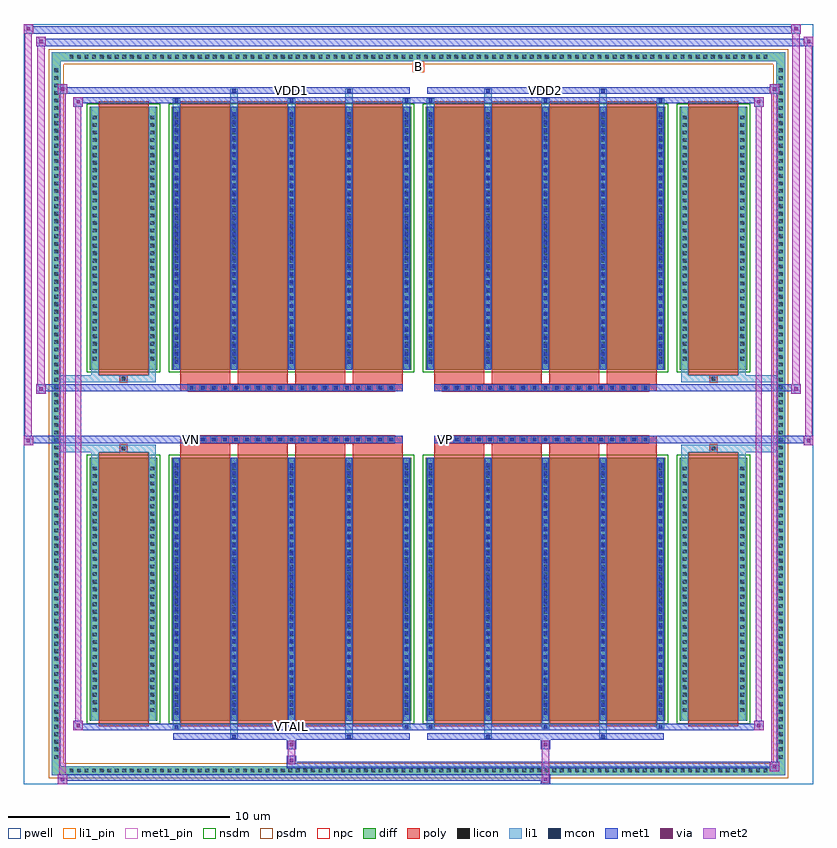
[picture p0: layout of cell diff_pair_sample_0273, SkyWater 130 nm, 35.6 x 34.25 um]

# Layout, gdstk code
import gdstk
lib = gdstk.Library(unit=1e-6, precision=5e-09)
def R(c, l, rs):  # rectangles x0, y0, x1, y1
    for r in rs: c.add(gdstk.rectangle(r[:2], r[2:], *l))
def A(c, l, x, y, w, h, nx, ny, dx, dy):  # array of equal rectangles
    R(c, l, [(x+i*dx, y+j*dy, x+i*dx+w, y+j*dy+h) for i in range(nx) for j in range(ny)])
def P(c, l, *ps):  # polygons
    for p in ps: c.add(gdstk.Polygon(p, *l))
pwell = (64, 44)
diff = (65, 20)
poly = (66, 20)
licon = (66, 44)
li1_pin = (67, 16)
li1 = (67, 20)
mcon = (67, 44)
met1_pin = (68, 16)
met1 = (68, 20)
via = (68, 44)
met2 = (69, 20)
nsdm = (93, 44)
psdm = (94, 20)
npc = (95, 20)

diff_pair_sample_0273 = lib.new_cell('diff_pair_sample_0273')
R(diff_pair_sample_0273, pwell, [(-17.8,-16.69,17.8,17.56), (-15.12,-14.88,-0.01,-0.8), (0.01,-14.88,15.12,-0.8), (-15.12,0.8,-0.01,14.88), (0.01,0.8,15.12,14.88)])
A(diff_pair_sample_0273, diff, -15.845, -16.29, 0.41, 0.41, 93, 2, 0.34, 32.17)
A(diff_pair_sample_0273, diff, -16.53, -15.675, 0.41, 0.41, 1, 92, 0, 0.34)
A(diff_pair_sample_0273, diff, 16.12, -15.675, 0.41, 0.41, 1, 92, 0, 0.34)
R(diff_pair_sample_0273, diff, [(-15.845,-16.29,15.845,-15.88), (-16.53,-15.675,-16.12,15.675), (16.12,-15.675,16.53,15.675), (-14.81,-13.835,-11.77,-1.985), (-11.13,-13.835,-0.32,-1.985), (0.32,-13.835,11.13,-1.985), (11.77,-13.835,14.81,-1.985), (-14.81,1.985,-11.77,13.835), (-11.13,1.985,-0.32,13.835), (0.32,1.985,11.13,13.835), (11.77,1.985,14.81,13.835), (-15.845,15.88,15.845,16.29)])
P(diff_pair_sample_0273, diff, [(16.53,16.29),(-16.53,16.29),(-16.53,-15.88),(-16.12,-15.88),(-16.12,15.88),(16.12,15.88),(16.12,-15.88),(-16.12,-15.88),(-16.53,-15.88),(-16.53,-16.29),(16.53,-16.29)])
A(diff_pair_sample_0273, poly, -10.74, -14.085, 2.26, 12.35, 4, 2, 2.59, 15.82)
A(diff_pair_sample_0273, poly, 0.71, -14.085, 2.26, 12.35, 4, 2, 2.59, 15.82)
A(diff_pair_sample_0273, poly, -10.74, -1.735, 2.26, 0.405, 4, 2, 2.59, 3.065)
A(diff_pair_sample_0273, poly, 0.71, -1.735, 2.26, 0.405, 4, 2, 2.59, 3.065)
A(diff_pair_sample_0273, poly, -10.39, -1.33, 0.33, 0.33, 19, 2, 0.5, 2.33)
A(diff_pair_sample_0273, poly, 1.06, -1.33, 0.33, 0.33, 19, 2, 0.5, 2.33)
R(diff_pair_sample_0273, poly, [(-14.42,-14.085,-12.16,-1.735), (12.16,-14.085,14.42,-1.735), (-13.455,-1.735,-13.125,-1.405), (-13.455,-1.735,-13.125,-1.405), (13.125,-1.735,13.455,-1.405), (13.125,-1.735,13.455,-1.405), (-10.74,-1.33,-0.71,-1), (0.71,-1.33,10.74,-1), (-10.74,1,-0.71,1.33), (0.71,1,10.74,1.33), (-13.455,1.405,-13.125,1.735), (-13.455,1.405,-13.125,1.735), (13.125,1.405,13.455,1.735), (13.125,1.405,13.455,1.735), (-14.42,1.735,-12.16,14.085), (12.16,1.735,14.42,14.085)])
A(diff_pair_sample_0273, licon, -15.725, -16.17, 0.17, 0.17, 93, 2, 0.34, 32.17)
A(diff_pair_sample_0273, licon, -16.41, -15.555, 0.17, 0.17, 1, 92, 0, 0.34)
A(diff_pair_sample_0273, licon, 16.24, -15.555, 0.17, 0.17, 1, 92, 0, 0.34)
A(diff_pair_sample_0273, licon, -14.67, -13.435, 0.17, 0.17, 1, 33, 0, 0.34)
A(diff_pair_sample_0273, licon, -12.08, -13.435, 0.17, 0.17, 1, 33, 0, 0.34)
A(diff_pair_sample_0273, licon, -10.99, -13.435, 0.17, 0.17, 5, 33, 2.59, 0.34)
A(diff_pair_sample_0273, licon, 0.46, -13.435, 0.17, 0.17, 5, 33, 2.59, 0.34)
A(diff_pair_sample_0273, licon, 11.91, -13.435, 0.17, 0.17, 1, 33, 0, 0.34)
A(diff_pair_sample_0273, licon, 14.5, -13.435, 0.17, 0.17, 1, 33, 0, 0.34)
A(diff_pair_sample_0273, licon, -10.31, -1.25, 0.17, 0.17, 19, 2, 0.5, 2.33)
A(diff_pair_sample_0273, licon, 1.14, -1.25, 0.17, 0.17, 19, 2, 0.5, 2.33)
A(diff_pair_sample_0273, licon, -14.67, 2.385, 0.17, 0.17, 1, 33, 0, 0.34)
A(diff_pair_sample_0273, licon, -12.08, 2.385, 0.17, 0.17, 1, 33, 0, 0.34)
A(diff_pair_sample_0273, licon, -10.99, 2.385, 0.17, 0.17, 5, 33, 2.59, 0.34)
A(diff_pair_sample_0273, licon, 0.46, 2.385, 0.17, 0.17, 5, 33, 2.59, 0.34)
A(diff_pair_sample_0273, licon, 11.91, 2.385, 0.17, 0.17, 1, 33, 0, 0.34)
A(diff_pair_sample_0273, licon, 14.5, 2.385, 0.17, 0.17, 1, 33, 0, 0.34)
R(diff_pair_sample_0273, licon, [(-13.375,-1.655,-13.205,-1.485), (13.205,-1.655,13.375,-1.485), (-13.375,1.485,-13.205,1.655), (13.205,1.485,13.375,1.655)])
R(diff_pair_sample_0273, li1_pin, [(-0.25,15.38,0.25,15.88)])
A(diff_pair_sample_0273, li1, -15.805, -16.25, 0.33, 0.33, 93, 2, 0.34, 32.17)
A(diff_pair_sample_0273, li1, -16.49, -15.635, 0.33, 0.33, 1, 92, 0, 0.34)
A(diff_pair_sample_0273, li1, 16.16, -15.635, 0.33, 0.33, 1, 92, 0, 0.34)
A(diff_pair_sample_0273, li1, -11.07, -14.21, 0.33, 0.375, 3, 2, 5.18, 28.045)
A(diff_pair_sample_0273, li1, -10.99, -14.21, 0.17, 0.17, 3, 2, 5.18, 28.25)
A(diff_pair_sample_0273, li1, 0.38, -14.21, 0.33, 0.375, 3, 2, 5.18, 28.045)
A(diff_pair_sample_0273, li1, 0.46, -14.21, 0.17, 0.17, 3, 2, 5.18, 28.25)
A(diff_pair_sample_0273, li1, -11.07, -13.835, 0.33, 11.85, 5, 2, 2.59, 15.82)
A(diff_pair_sample_0273, li1, 0.38, -13.835, 0.33, 11.85, 5, 2, 2.59, 15.82)
A(diff_pair_sample_0273, li1, -10.99, -13.575, 0.17, 0.17, 5, 32, 2.59, 0.36)
A(diff_pair_sample_0273, li1, -10.99, -13.575, 0.17, 11.33, 5, 2, 2.59, 15.82)
A(diff_pair_sample_0273, li1, 0.46, -13.575, 0.17, 0.17, 5, 32, 2.59, 0.36)
A(diff_pair_sample_0273, li1, 0.46, -13.575, 0.17, 11.33, 5, 2, 2.59, 15.82)
A(diff_pair_sample_0273, li1, -14.75, -13.515, 0.33, 0.33, 1, 33, 0, 0.34)
A(diff_pair_sample_0273, li1, -12.16, -13.515, 0.33, 0.33, 1, 33, 0, 0.34)
A(diff_pair_sample_0273, li1, -11.07, -13.515, 0.33, 0.33, 5, 33, 2.59, 0.34)
A(diff_pair_sample_0273, li1, 0.38, -13.515, 0.33, 0.33, 5, 33, 2.59, 0.34)
A(diff_pair_sample_0273, li1, 11.83, -13.515, 0.33, 0.33, 1, 33, 0, 0.34)
A(diff_pair_sample_0273, li1, 14.42, -13.515, 0.33, 0.33, 1, 33, 0, 0.34)
A(diff_pair_sample_0273, li1, -10.39, -1.33, 0.33, 0.33, 19, 2, 0.5, 2.33)
A(diff_pair_sample_0273, li1, 1.06, -1.33, 0.33, 0.33, 19, 2, 0.5, 2.33)
A(diff_pair_sample_0273, li1, -10.99, 2.245, 0.17, 0.17, 5, 32, 2.59, 0.36)
A(diff_pair_sample_0273, li1, 0.46, 2.245, 0.17, 0.17, 5, 32, 2.59, 0.36)
A(diff_pair_sample_0273, li1, -14.75, 2.305, 0.33, 0.33, 1, 33, 0, 0.34)
A(diff_pair_sample_0273, li1, -12.16, 2.305, 0.33, 0.33, 1, 33, 0, 0.34)
A(diff_pair_sample_0273, li1, -11.07, 2.305, 0.33, 0.33, 5, 33, 2.59, 0.34)
A(diff_pair_sample_0273, li1, 0.38, 2.305, 0.33, 0.33, 5, 33, 2.59, 0.34)
A(diff_pair_sample_0273, li1, 11.83, 2.305, 0.33, 0.33, 1, 33, 0, 0.34)
A(diff_pair_sample_0273, li1, 14.42, 2.305, 0.33, 0.33, 1, 33, 0, 0.34)
R(diff_pair_sample_0273, li1, [(-16.53,-16.29,-16.12,-15.88), (-16.53,-16.29,-16.12,-15.88), (-16.12,-16.29,16.12,-15.88), (16.12,-16.29,16.53,-15.88), (16.12,-16.29,16.53,-15.88), (-16.53,-15.88,-16.12,15.88), (16.12,-15.88,16.53,15.88), (-8.48,-14.64,-8.15,-13.835), (-8.4,-14.64,-8.23,-14.47), (-3.3,-14.64,-2.97,-13.835), (-3.22,-14.64,-3.05,-14.47), (2.97,-14.64,3.3,-13.835), (3.05,-14.64,3.22,-14.47), (8.15,-14.64,8.48,-13.835), (8.23,-14.64,8.4,-14.47), (-14.75,-13.835,-14.42,-1.985), (-12.16,-13.835,-11.83,-1.985), (11.83,-13.835,12.16,-1.985), (14.42,-13.835,14.75,-1.985), (-14.75,-1.985,-14.42,-1.405), (-12.16,-1.985,-11.83,-1.405), (11.83,-1.985,12.16,-1.405), (14.42,-1.985,14.75,-1.405), (-16.53,-1.735,-13.455,-1.405), (-14.75,-1.735,-13.455,-1.405), (-13.455,-1.735,-13.125,-1.405), (-13.125,-1.735,-11.83,-1.405), (11.83,-1.735,13.125,-1.405), (13.125,-1.735,13.455,-1.405), (13.125,-1.735,16.53,-1.405), (13.455,-1.735,14.75,-1.405), (-16.53,1.405,-13.455,1.735), (-14.75,1.405,-13.455,1.735), (-14.75,1.405,-14.42,1.985), (-13.455,1.405,-13.125,1.735), (-13.125,1.405,-11.83,1.735), (-12.16,1.405,-11.83,1.985), (11.83,1.405,13.125,1.735), (11.83,1.405,12.16,1.985), (13.125,1.405,13.455,1.735), (13.125,1.405,16.53,1.735), (13.455,1.405,14.75,1.735), (14.42,1.405,14.75,1.985), (-14.75,1.985,-14.42,13.835), (-12.16,1.985,-11.83,13.835), (11.83,1.985,12.16,13.835), (14.42,1.985,14.75,13.835), (-8.48,13.835,-8.15,14.64), (-3.3,13.835,-2.97,14.64), (2.97,13.835,3.3,14.64), (8.15,13.835,8.48,14.64), (-8.4,14.47,-8.23,14.64), (-3.22,14.47,-3.05,14.64), (3.05,14.47,3.22,14.64), (8.23,14.47,8.4,14.64), (-16.53,15.88,-16.12,16.29), (-16.53,15.88,-16.12,16.29), (-16.12,15.88,16.12,16.29), (16.12,15.88,16.53,16.29), (16.12,15.88,16.53,16.29)])
A(diff_pair_sample_0273, mcon, -10.99, -14.21, 0.17, 0.17, 3, 2, 5.18, 28.25)
A(diff_pair_sample_0273, mcon, 0.46, -14.21, 0.17, 0.17, 3, 2, 5.18, 28.25)
A(diff_pair_sample_0273, mcon, -10.99, -13.575, 0.17, 0.17, 5, 32, 2.59, 0.36)
A(diff_pair_sample_0273, mcon, 0.46, -13.575, 0.17, 0.17, 5, 32, 2.59, 0.36)
A(diff_pair_sample_0273, mcon, -10.31, -1.25, 0.17, 0.17, 19, 2, 0.5, 2.33)
A(diff_pair_sample_0273, mcon, 1.14, -1.25, 0.17, 0.17, 19, 2, 0.5, 2.33)
A(diff_pair_sample_0273, mcon, -10.99, 2.245, 0.17, 0.17, 5, 32, 2.59, 0.36)
A(diff_pair_sample_0273, mcon, 0.46, 2.245, 0.17, 0.17, 5, 32, 2.59, 0.36)
R(diff_pair_sample_0273, mcon, [(-8.4,-14.64,-8.23,-14.47), (-3.22,-14.64,-3.05,-14.47), (3.05,-14.64,3.22,-14.47), (8.23,-14.64,8.4,-14.47), (-8.4,14.47,-8.23,14.64), (-3.22,14.47,-3.05,14.64), (3.05,14.47,3.22,14.64), (8.23,14.47,8.4,14.64)])
R(diff_pair_sample_0273, met1_pin, [(-5.86,-14.25,-5.59,-13.98), (-10.36,-1.29,-10.09,-1.02), (1.09,-1.29,1.36,-1.02), (-5.86,14.43,-5.59,14.7), (5.59,14.43,5.86,14.7)])
A(diff_pair_sample_0273, met1, -11.05, -14.27, 0.29, 0.29, 3, 2, 5.18, 28.25)
A(diff_pair_sample_0273, met1, 0.4, -14.27, 0.29, 0.29, 3, 2, 5.18, 28.25)
A(diff_pair_sample_0273, met1, -11.05, -13.835, 0.29, 11.85, 5, 2, 2.59, 15.82)
A(diff_pair_sample_0273, met1, 0.4, -13.835, 0.29, 11.85, 5, 2, 2.59, 15.82)
A(diff_pair_sample_0273, met1, -11.05, -13.635, 0.29, 0.29, 5, 32, 2.59, 0.36)
A(diff_pair_sample_0273, met1, 0.4, -13.635, 0.29, 0.29, 5, 32, 2.59, 0.36)
A(diff_pair_sample_0273, met1, -10.37, -1.31, 0.29, 0.29, 19, 2, 0.5, 2.33)
A(diff_pair_sample_0273, met1, 1.08, -1.31, 0.29, 0.29, 19, 2, 0.5, 2.33)
A(diff_pair_sample_0273, met1, -11.05, 2.185, 0.29, 0.29, 5, 32, 2.59, 0.36)
A(diff_pair_sample_0273, met1, 0.4, 2.185, 0.29, 0.29, 5, 32, 2.59, 0.36)
R(diff_pair_sample_0273, met1, [(-16.26,-16.69,-15.83,-16.26), (5.51,-16.69,5.94,-16.26), (-16.26,-16.55,5.94,-16.26), (15.83,-16.12,16.26,-15.69), (-5.94,-15.98,16.26,-15.69), (-5.94,-15.84,-5.51,-15.41), (-5.94,-15.13,-5.51,-14.7), (5.51,-15.13,5.94,-14.7), (-11.05,-14.7,-0.4,-14.41), (-8.46,-14.7,-8.17,-14.41), (-3.28,-14.7,-2.99,-14.41), (0.4,-14.7,11.05,-14.41), (2.99,-14.7,3.28,-14.41), (8.17,-14.7,8.46,-14.41), (-15.55,-14.27,-15.12,-13.84), (-15.55,-14.27,-11.05,-13.98), (-11.05,-14.27,-0.4,-13.98), (-0.4,-14.27,0.4,-13.98), (0.4,-14.27,11.05,-13.98), (11.05,-14.27,15.55,-13.98), (15.12,-14.27,15.55,-13.84), (-17.8,-1.43,-17.37,-1), (17.37,-1.43,17.8,-1), (-17.8,-1.33,-0.71,-1), (-10.74,-1.33,-0.71,-1), (0.71,-1.33,10.74,-1), (0.71,-1.33,17.8,-1), (-17.23,0.9,-16.8,1.33), (16.8,0.9,17.23,1.33), (-17.23,1,-10.74,1.33), (-10.74,1,-0.71,1.33), (0.71,1,10.74,1.33), (10.74,1,17.23,1.33), (-15.55,13.84,-15.12,14.27), (15.12,13.84,15.55,14.27), (-15.55,13.98,-11.05,14.27), (-11.05,13.98,-0.4,14.27), (-0.4,13.98,0.4,14.27), (0.4,13.98,11.05,14.27), (11.05,13.98,15.55,14.27), (-16.26,14.41,-15.83,14.84), (-16.26,14.41,-11.05,14.7), (-11.05,14.41,-0.4,14.7), (-8.46,14.41,-8.17,14.7), (-3.28,14.41,-2.99,14.7), (0.4,14.41,11.05,14.7), (2.99,14.41,3.28,14.7), (8.17,14.41,8.46,14.7), (11.05,14.41,16.26,14.7), (15.83,14.41,16.26,14.84), (-17.23,16.56,-16.8,16.99), (-17.23,16.56,-15.12,16.89), (-15.12,16.56,15.12,16.89), (15.12,16.56,17.8,16.89), (17.37,16.56,17.8,16.99), (-17.8,17.13,-17.37,17.56), (-17.8,17.13,-15.12,17.46), (-15.12,17.13,15.12,17.46), (15.12,17.13,17.23,17.46), (16.8,17.13,17.23,17.56)])
R(diff_pair_sample_0273, via, [(-16.12,-16.55,-15.97,-16.4), (5.65,-16.55,5.8,-16.4), (15.97,-15.98,16.12,-15.83), (-5.8,-15.7,-5.65,-15.55), (-5.8,-14.99,-5.65,-14.84), (5.65,-14.99,5.8,-14.84), (-15.41,-14.13,-15.26,-13.98), (15.26,-14.13,15.41,-13.98), (-17.66,-1.29,-17.51,-1.14), (17.51,-1.29,17.66,-1.14), (-17.09,1.04,-16.94,1.19), (16.94,1.04,17.09,1.19), (-15.41,13.98,-15.26,14.13), (15.26,13.98,15.41,14.13), (-16.12,14.55,-15.97,14.7), (15.97,14.55,16.12,14.7), (-17.09,16.7,-16.94,16.85), (17.51,16.7,17.66,16.85), (-17.66,17.27,-17.51,17.42), (16.94,17.27,17.09,17.42)])
R(diff_pair_sample_0273, met2, [(-16.26,-16.69,-15.83,-16.26), (-16.19,-16.69,-15.9,14.84), (-15.9,-16.69,-15.83,-16.26), (-16.21,-16.64,-15.88,-16.31), (5.56,-16.64,5.89,-16.31), (5.56,-16.31,5.89,-15.08), (15.83,-16.12,16.26,-15.69), (15.9,-16.12,16.19,14.84), (16.19,-16.12,16.26,-15.69), (15.88,-16.07,16.21,-15.74), (-5.89,-15.79,-5.56,-15.46), (-5.89,-15.46,-5.56,-15.08), (-5.89,-15.08,-5.56,-14.75), (5.56,-15.08,5.89,-14.75), (-15.55,-14.27,-15.12,-13.84), (-15.48,-14.27,-15.19,14.27), (-15.19,-14.27,-15.12,-13.84), (15.12,-14.27,15.55,-13.84), (15.19,-14.27,15.48,14.27), (15.48,-14.27,15.55,-13.84), (-15.5,-14.22,-15.17,-13.89), (15.17,-14.22,15.5,-13.89), (-17.8,-1.43,-17.37,-1), (-17.75,-1.43,-17.42,17.56), (-17.42,-1.43,-17.37,-1), (17.37,-1.43,17.8,-1), (17.42,-1.43,17.75,16.99), (17.75,-1.43,17.8,-1), (-17.75,-1.38,-17.42,-1.05), (17.42,-1.38,17.75,-1.05), (-17.23,0.9,-16.8,1.33), (-17.18,0.9,-16.85,16.99), (-16.85,0.9,-16.8,1.33), (16.8,0.9,17.23,1.33), (16.85,0.9,17.18,17.56), (17.18,0.9,17.23,1.33), (-17.18,0.95,-16.85,1.28), (16.85,0.95,17.18,1.28), (-15.55,13.84,-15.12,14.27), (-15.19,13.84,-15.12,14.27), (15.12,13.84,15.55,14.27), (15.48,13.84,15.55,14.27), (-15.5,13.89,-15.17,14.22), (15.17,13.89,15.5,14.22), (-16.26,14.41,-15.83,14.84), (-15.9,14.41,-15.83,14.84), (15.83,14.41,16.26,14.84), (16.19,14.41,16.26,14.84), (-16.21,14.46,-15.88,14.79), (15.88,14.46,16.21,14.79), (-17.23,16.56,-16.8,16.99), (-16.85,16.56,-16.8,16.99), (17.37,16.56,17.8,16.99), (17.75,16.56,17.8,16.99), (-17.18,16.61,-16.85,16.94), (17.42,16.61,17.75,16.94), (-17.8,17.13,-17.37,17.56), (-17.42,17.13,-17.37,17.56), (16.8,17.13,17.23,17.56), (17.18,17.13,17.23,17.56), (-17.75,17.18,-17.42,17.51), (16.85,17.18,17.18,17.51)])
R(diff_pair_sample_0273, nsdm, [(-14.94,-13.965,-11.64,-1.855), (-11.26,-13.965,-0.19,-1.855), (0.19,-13.965,11.26,-1.855), (11.64,-13.965,14.94,-1.855), (-14.94,1.855,-11.64,13.965), (-11.26,1.855,-0.19,13.965), (0.19,1.855,11.26,13.965), (11.64,1.855,14.94,13.965)])
P(diff_pair_sample_0273, psdm, [(16.66,16.42),(-16.66,16.42),(-16.66,-15.75),(-15.99,-15.75),(-15.99,15.75),(15.99,15.75),(15.99,-15.75),(-15.99,-15.75),(-16.66,-15.75),(-16.66,-16.42),(16.66,-16.42)])
A(diff_pair_sample_0273, npc, -10.41, -1.35, 0.37, 0.37, 19, 2, 0.5, 2.33)
A(diff_pair_sample_0273, npc, 1.04, -1.35, 0.37, 0.37, 19, 2, 0.5, 2.33)
R(diff_pair_sample_0273, npc, [(-13.475,-1.755,-13.105,-1.385), (13.105,-1.755,13.475,-1.385), (-10.41,-1.35,-9.54,-0.98), (-10.41,-1.35,-9.54,-0.98), (-9.91,-1.35,-9.04,-0.98), (-9.91,-1.35,-9.04,-0.98), (-9.41,-1.35,-8.54,-0.98), (-9.41,-1.35,-8.54,-0.98), (-8.91,-1.35,-8.04,-0.98), (-8.91,-1.35,-8.04,-0.98), (-8.41,-1.35,-7.54,-0.98), (-8.41,-1.35,-7.54,-0.98), (-7.91,-1.35,-7.04,-0.98), (-7.91,-1.35,-7.04,-0.98), (-7.41,-1.35,-6.54,-0.98), (-7.41,-1.35,-6.54,-0.98), (-6.91,-1.35,-6.04,-0.98), (-6.91,-1.35,-6.04,-0.98), (-6.41,-1.35,-5.54,-0.98), (-6.41,-1.35,-5.54,-0.98), (-5.91,-1.35,-5.04,-0.98), (-5.91,-1.35,-5.04,-0.98), (-5.41,-1.35,-4.54,-0.98), (-5.41,-1.35,-4.54,-0.98), (-4.91,-1.35,-4.04,-0.98), (-4.91,-1.35,-4.04,-0.98), (-4.41,-1.35,-3.54,-0.98), (-4.41,-1.35,-3.54,-0.98), (-3.91,-1.35,-3.04,-0.98), (-3.91,-1.35,-3.04,-0.98), (-3.41,-1.35,-2.54,-0.98), (-3.41,-1.35,-2.54,-0.98), (-2.91,-1.35,-2.04,-0.98), (-2.91,-1.35,-2.04,-0.98), (-2.41,-1.35,-1.54,-0.98), (-2.41,-1.35,-1.54,-0.98), (-1.91,-1.35,-1.04,-0.98), (-1.91,-1.35,-1.04,-0.98), (1.04,-1.35,1.91,-0.98), (1.04,-1.35,1.91,-0.98), (1.54,-1.35,2.41,-0.98), (1.54,-1.35,2.41,-0.98), (2.04,-1.35,2.91,-0.98), (2.04,-1.35,2.91,-0.98), (2.54,-1.35,3.41,-0.98), (2.54,-1.35,3.41,-0.98), (3.04,-1.35,3.91,-0.98), (3.04,-1.35,3.91,-0.98), (3.54,-1.35,4.41,-0.98), (3.54,-1.35,4.41,-0.98), (4.04,-1.35,4.91,-0.98), (4.04,-1.35,4.91,-0.98), (4.54,-1.35,5.41,-0.98), (4.54,-1.35,5.41,-0.98), (5.04,-1.35,5.91,-0.98), (5.04,-1.35,5.91,-0.98), (5.54,-1.35,6.41,-0.98), (5.54,-1.35,6.41,-0.98), (6.04,-1.35,6.91,-0.98), (6.04,-1.35,6.91,-0.98), (6.54,-1.35,7.41,-0.98), (6.54,-1.35,7.41,-0.98), (7.04,-1.35,7.91,-0.98), (7.04,-1.35,7.91,-0.98), (7.54,-1.35,8.41,-0.98), (7.54,-1.35,8.41,-0.98), (8.04,-1.35,8.91,-0.98), (8.04,-1.35,8.91,-0.98), (8.54,-1.35,9.41,-0.98), (8.54,-1.35,9.41,-0.98), (9.04,-1.35,9.91,-0.98), (9.04,-1.35,9.91,-0.98), (9.54,-1.35,10.41,-0.98), (9.54,-1.35,10.41,-0.98), (-10.41,0.98,-9.54,1.35), (-10.41,0.98,-9.54,1.35), (-9.91,0.98,-9.04,1.35), (-9.91,0.98,-9.04,1.35), (-9.41,0.98,-8.54,1.35), (-9.41,0.98,-8.54,1.35), (-8.91,0.98,-8.04,1.35), (-8.91,0.98,-8.04,1.35), (-8.41,0.98,-7.54,1.35), (-8.41,0.98,-7.54,1.35), (-7.91,0.98,-7.04,1.35), (-7.91,0.98,-7.04,1.35), (-7.41,0.98,-6.54,1.35), (-7.41,0.98,-6.54,1.35), (-6.91,0.98,-6.04,1.35), (-6.91,0.98,-6.04,1.35), (-6.41,0.98,-5.54,1.35), (-6.41,0.98,-5.54,1.35), (-5.91,0.98,-5.04,1.35), (-5.91,0.98,-5.04,1.35), (-5.41,0.98,-4.54,1.35), (-5.41,0.98,-4.54,1.35), (-4.91,0.98,-4.04,1.35), (-4.91,0.98,-4.04,1.35), (-4.41,0.98,-3.54,1.35), (-4.41,0.98,-3.54,1.35), (-3.91,0.98,-3.04,1.35), (-3.91,0.98,-3.04,1.35), (-3.41,0.98,-2.54,1.35), (-3.41,0.98,-2.54,1.35), (-2.91,0.98,-2.04,1.35), (-2.91,0.98,-2.04,1.35), (-2.41,0.98,-1.54,1.35), (-2.41,0.98,-1.54,1.35), (-1.91,0.98,-1.04,1.35), (-1.91,0.98,-1.04,1.35), (1.04,0.98,1.91,1.35), (1.04,0.98,1.91,1.35), (1.54,0.98,2.41,1.35), (1.54,0.98,2.41,1.35), (2.04,0.98,2.91,1.35), (2.04,0.98,2.91,1.35), (2.54,0.98,3.41,1.35), (2.54,0.98,3.41,1.35), (3.04,0.98,3.91,1.35), (3.04,0.98,3.91,1.35), (3.54,0.98,4.41,1.35), (3.54,0.98,4.41,1.35), (4.04,0.98,4.91,1.35), (4.04,0.98,4.91,1.35), (4.54,0.98,5.41,1.35), (4.54,0.98,5.41,1.35), (5.04,0.98,5.91,1.35), (5.04,0.98,5.91,1.35), (5.54,0.98,6.41,1.35), (5.54,0.98,6.41,1.35), (6.04,0.98,6.91,1.35), (6.04,0.98,6.91,1.35), (6.54,0.98,7.41,1.35), (6.54,0.98,7.41,1.35), (7.04,0.98,7.91,1.35), (7.04,0.98,7.91,1.35), (7.54,0.98,8.41,1.35), (7.54,0.98,8.41,1.35), (8.04,0.98,8.91,1.35), (8.04,0.98,8.91,1.35), (8.54,0.98,9.41,1.35), (8.54,0.98,9.41,1.35), (9.04,0.98,9.91,1.35), (9.04,0.98,9.91,1.35), (9.54,0.98,10.41,1.35), (9.54,0.98,10.41,1.35), (-13.475,1.385,-13.105,1.755), (13.105,1.385,13.475,1.755)])
diff_pair_sample_0273.add(gdstk.Label('VTAIL', (-5.725,-14.115), layer=68, texttype=5))
diff_pair_sample_0273.add(gdstk.Label('VN', (-10.225,-1.155), layer=68, texttype=5))
diff_pair_sample_0273.add(gdstk.Label('VP', (1.225,-1.155), layer=68, texttype=5))
diff_pair_sample_0273.add(gdstk.Label('B', (0,15.63), layer=67, texttype=5))
diff_pair_sample_0273.add(gdstk.Label('VDD2', (5.725,14.565), layer=68, texttype=5))
diff_pair_sample_0273.add(gdstk.Label('VDD1', (-5.725,14.565), layer=68, texttype=5))

lib.write_gds('diff_pair_sample_0273.gds')
